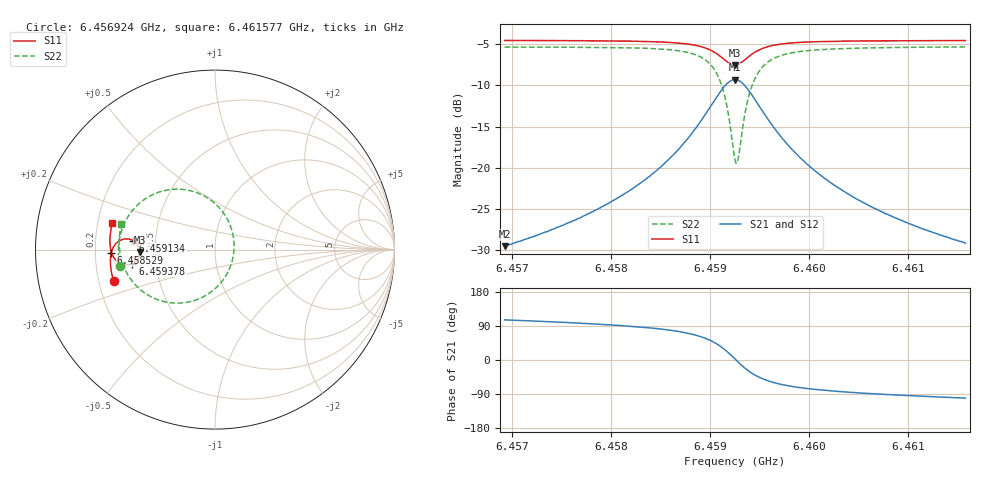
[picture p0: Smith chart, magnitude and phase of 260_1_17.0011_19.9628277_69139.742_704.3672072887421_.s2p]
#  HZ  S  RI  R  50.00
! Rohde & Schwarz Vector Network Analyzer
! Rohde-Schwarz,ZNB20-2Port,1311601062101988,3.16
! Created: UTC 3/20/2024, 11:03:44 PM
! freq[Hz]  re:S11  im:S11  re:S21  im:S21  re:S12  im:S12  re:S22  im:S22
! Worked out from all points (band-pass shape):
!   401 points, 6.456924 GHz to 6.461577 GHz, reference 50 ohm
!   highest |S21| = -9.30 dB at 6.459251 GHz (marker M1); lowest = -29.5 dB at 6.456924 GHz (marker M2)
!   |S21| within 3 dB of the highest: 6.459018 GHz to 6.459483 GHz (465.6 kHz wide, 0.00721 % of centre)
!   lowest |S11| = -7.5 dB at 6.459251 GHz (marker M3), VSWR 2.45, Z = 20.5 - j0.631 ohm
!   |S11| at or under -10 dB: nowhere
!   |S22| runs from -19.5 to -5.3 dB; largest |S21 - S12| = 0.013
!   S11 on the Smith chart (normalised r, x): 6.456924 GHz: 0.26, -0.14; 6.458529 GHz: 0.27, -0.01; 6.459134 GHz: 0.37, +0.05; 6.459378 GHz: 0.37, -0.07; 6.461577 GHz: 0.26, +0.12
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6.4569244e9  -0.5651 -0.177  -0.00918 0.0321  -0.00756 0.032  -0.5316 -0.0938
6.4577036e9  -0.5798 -0.1091  -0.00596 0.0499  -0.00345 0.0494  -0.5382 -0.00312
6.4581224e9  -0.5832 -0.0675  -0.000432 0.0687  0.00274 0.0673  -0.5316 0.0625
6.4584829e9  -0.5796 -0.0248  0.0133 0.098  0.0173 0.0955  -0.5065 0.1427
6.4585294e9  -0.5784 -0.0185  0.0168 0.1035  0.0207 0.1006  -0.5002 0.1559
6.4587388e9  -0.5663 0.0133  0.0425 0.1351  0.0467 0.1305  -0.4519 0.2277
6.45889e9  -0.5452 0.0397  0.0847 0.1655  0.0882 0.1591  -0.3739 0.2922
6.4590412e9  -0.4994 0.0596  0.1761 0.1848  0.1772 0.1773  -0.2069 0.3367
6.4591342e9  -0.4552 0.0497  0.2656 0.1541  0.2659 0.148  -0.041 0.2874
6.4591808e9  -0.4341 0.031  0.309 0.1116  0.3104 0.1063  0.0416 0.2118
6.4592506e9  -0.4193 -0.0127  0.3423 0.0157  0.3459 0.00856  0.1063 0.0335
6.4592622e9  -0.4199 -0.0207  0.3422 -0.0021  0.3459 -0.00972  0.1061 0.000154
6.4592854e9  -0.4233 -0.0361  0.3368 -0.0364  0.3406 -0.0455  0.0953 -0.0651
6.459332e9  -0.4388 -0.0618  0.3086 -0.0958  0.3109 -0.1077  0.0385 -0.1776
6.4593785e9  -0.4604 -0.0778  0.2672 -0.1367  0.2664 -0.1499  -0.0454 -0.2519
6.4594715e9  -0.5034 -0.0846  0.1832 -0.1679  0.1772 -0.1793  -0.2127 -0.2983
6.4596227e9  -0.5467 -0.0642  0.0962 -0.1547  0.0878 -0.1608  -0.3789 -0.25
6.4597856e9  -0.5684 -0.0367  0.0515 -0.1273  0.0441 -0.1301  -0.4592 -0.1787
6.4600298e9  -0.581 -0.00102  0.0227 -0.0962  0.0168 -0.0969  -0.5073 -0.0968
6.4603671e9  -0.5856 0.0388  0.00682 -0.0705  0.00268 -0.0699  -0.5287 -0.0202
6.4608091e9  -0.5838 0.083  -0.00131 -0.0513  -0.00397 -0.0505  -0.5337 0.0505
6.4615767e9  -0.5716 0.1509  -0.00637 -0.0342  -0.00809 -0.0333  -0.5225 0.1408
